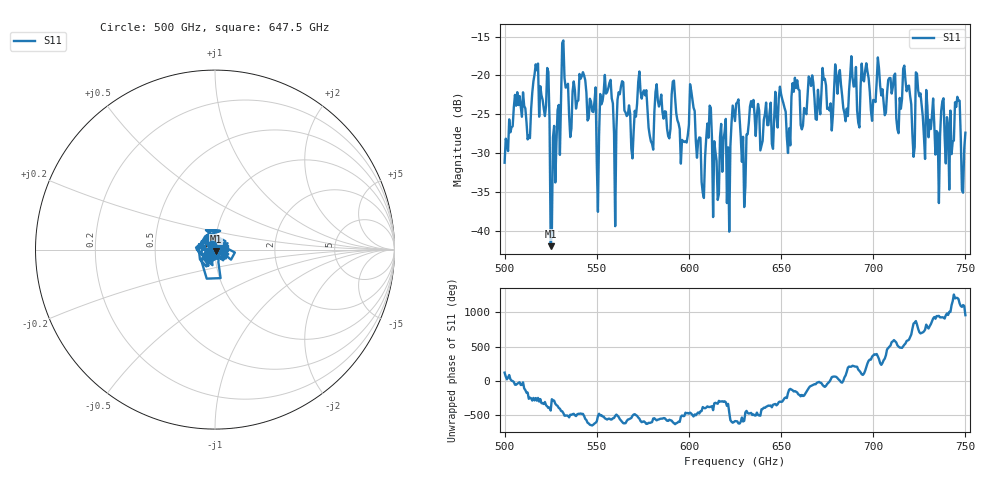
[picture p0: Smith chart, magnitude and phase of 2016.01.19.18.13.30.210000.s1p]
!Created with skrf (http://scikit-rf.org).
# GHz S RI R 50.0
!freq ReS11 ImS11
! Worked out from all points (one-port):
!   401 points, 500 GHz to 750 GHz, reference 50 ohm
!   lowest |S11| = -42.0 dB at 525 GHz (marker M1), VSWR 1.02, Z = 50.3 - j0.741 ohm
!   |S11| at or under -10 dB: start of sweep to end of sweep
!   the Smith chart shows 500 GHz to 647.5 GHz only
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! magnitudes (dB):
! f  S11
! 500 GHz  -31.2
! 506.9 GHz  -22.2
! 513.1 GHz  -27.7
! 516.9 GHz  -18.6
! 523.1 GHz  -19.0
! 525 GHz  -42.0
! 526.2 GHz  -28.0
! 531.2 GHz  -15.8
! 542.5 GHz  -19.6
! 551.2 GHz  -27.7
! 553.1 GHz  -23.3
! 560 GHz  -39.4
! 562.5 GHz  -22.4
! 593.8 GHz  -25.8
! 601.9 GHz  -23.1
! 607.5 GHz  -35.1
! 611.2 GHz  -23.9
! 614.4 GHz  -29.9
! 621.9 GHz  -40.1
! 625 GHz  -25.9
! 629.4 GHz  -27.9
! 633.8 GHz  -23.3
! 656.2 GHz  -21.0
! 687.5 GHz  -20.0
! 718.8 GHz  -21.4
! 735 GHz  -27.4
! 745.6 GHz  -22.8
! 750 GHz  -27.4
